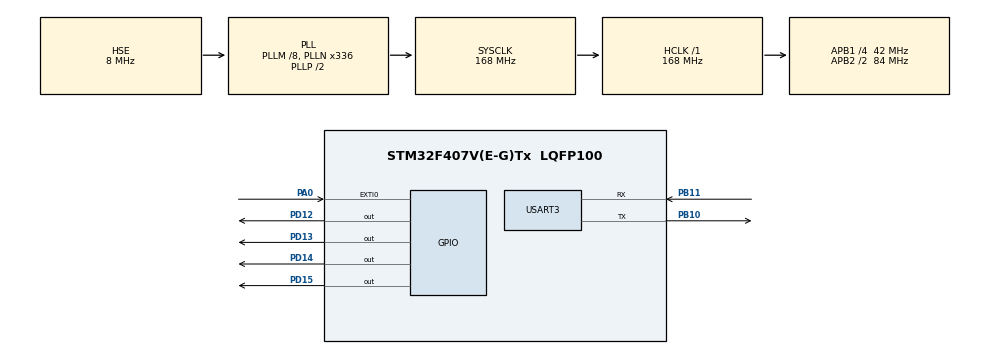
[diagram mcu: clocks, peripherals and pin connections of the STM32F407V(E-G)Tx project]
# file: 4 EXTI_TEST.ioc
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Mcu.Family=STM32F4
Mcu.Name=STM32F407V(E-G)Tx
Mcu.Package=LQFP100
NVIC.EXTI0_IRQn=true\:0\:0\:false\:true\:true\:3\:true
NVIC.PriorityGroup=NVIC_PRIORITYGROUP_4
NVIC.TIM7_IRQn=true\:0\:0\:false\:true\:true\:2\:true
NVIC.USART3_IRQn=true\:0\:0\:false\:true\:true\:1\:true
PA0-WKUP.GPIO_PuPd=GPIO_PULLDOWN
PA0-WKUP.Signal=GPXTI0
PB10.Mode=Asynchronous
PB10.Signal=USART3_TX
PB11.Mode=Asynchronous
PB11.Signal=USART3_RX
PD12.Signal=GPIO_Output
PD13.Signal=GPIO_Output
PD14.Signal=GPIO_Output
PD15.Signal=GPIO_Output
PH0-OSC_IN.Mode=HSE-External-Oscillator
PH0-OSC_IN.Signal=RCC_OSC_IN
PH1-OSC_OUT.Mode=HSE-External-Oscillator
PH1-OSC_OUT.Signal=RCC_OSC_OUT
ProjectManager.HeapSize=0x200
ProjectManager.StackSize=0x400
ProjectManager.TargetToolchain=TrueSTUDIO
RCC.48MHZClocksFreq_Value=84000000
RCC.AHBFreq_Value=168000000
RCC.APB1CLKDivider=RCC_HCLK_DIV4
RCC.APB1Freq_Value=42000000
RCC.APB1TimFreq_Value=84000000
RCC.APB2CLKDivider=RCC_HCLK_DIV2
RCC.APB2Freq_Value=84000000
RCC.APB2TimFreq_Value=168000000
RCC.CortexFreq_Value=168000000
RCC.HCLKFreq_Value=168000000
RCC.HSE_VALUE=8000000
RCC.HSI_VALUE=16000000
RCC.LSE_VALUE=32768
RCC.PLLM=8
RCC.PLLN=336
RCC.PLLSourceVirtual=RCC_PLLSOURCE_HSE
RCC.SYSCLKFreq_VALUE=168000000
RCC.SYSCLKSource=RCC_SYSCLKSOURCE_PLLCLK
RCC.VCOOutputFreq_Value=336000000
TIM7.Period=8400-1
TIM7.Prescaler=10000-1
USART3.VirtualMode=VM_ASYNC
VP_TIM7_VS_ClockSourceINT.Mode=Enable_Timer
board=custom

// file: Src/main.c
/**
  ******************************************************************************
  * @file           : main.c
  * @brief          : Main program body
  ******************************************************************************
  ** This notice applies to any and all portions of this file
  * that are not between comment pairs USER CODE BEGIN and
  * USER CODE END. Other portions of this file, whether
  * inserted by the user or by software development tools
  * are owned by their respective copyright owners.
  *
  * COPYRIGHT(c) 2019 STMicroelectronics
  *
  * Redistribution and use in source and binary forms, with or without modification,
  * are permitted provided that the following conditions are met:
  *   1. Redistributions of source code must retain the above copyright notice,
  *      this list of conditions and the following disclaimer.
  *   2. Redistributions in binary form must reproduce the above copyright notice,
  *      this list of conditions and the following disclaimer in the documentation
  *      and/or other materials provided with the distribution.
  *   3. Neither the name of STMicroelectronics nor the names of its contributors
  *      may be used to endorse or promote products derived from this software
  *      without specific prior written permission.
  *
  * THIS SOFTWARE IS PROVIDED BY THE COPYRIGHT HOLDERS AND CONTRIBUTORS "AS IS"
  * AND ANY EXPRESS OR IMPLIED WARRANTIES, INCLUDING, BUT NOT LIMITED TO, THE
  * IMPLIED WARRANTIES OF MERCHANTABILITY AND FITNESS FOR A PARTICULAR PURPOSE ARE
  * DISCLAIMED. IN NO EVENT SHALL THE COPYRIGHT HOLDER OR CONTRIBUTORS BE LIABLE
  * FOR ANY DIRECT, INDIRECT, INCIDENTAL, SPECIAL, EXEMPLARY, OR CONSEQUENTIAL
  * DAMAGES (INCLUDING, BUT NOT LIMITED TO, PROCUREMENT OF SUBSTITUTE GOODS OR
  * SERVICES; LOSS OF USE, DATA, OR PROFITS; OR BUSINESS INTERRUPTION) HOWEVER
  * CAUSED AND ON ANY THEORY OF LIABILITY, WHETHER IN CONTRACT, STRICT LIABILITY,
  * OR TORT (INCLUDING NEGLIGENCE OR OTHERWISE) ARISING IN ANY WAY OUT OF THE USE
  * OF THIS SOFTWARE, EVEN IF ADVISED OF THE POSSIBILITY OF SUCH DAMAGE.
  *
  ******************************************************************************
  */
#include "main.h"
#include "stm32f4xx_hal.h"
#include "tim.h"
#include "usart.h"
#include "gpio.h"

/* USER CODE BEGIN Includes */
#include <stdio.h>
/* USER CODE END Includes */

/* USER CODE BEGIN PV */
/* Private variables ---------------------------------------------------------*/
uint8_t rx3_data;

/* USER CODE END PV */

void SystemClock_Config(void);
static void MX_NVIC_Init(void);

/* USER CODE BEGIN PFP */
/* Private function prototypes -----------------------------------------------*/
int _write(int file, char* p, int len)
{
  HAL_UART_Transmit(&huart3, p, len, 10);
  return len;
}

/* USER CODE END PFP */

int main(void)
{

  /* MCU Configuration----------------------------------------------------------*/

  /* Reset of all peripherals, Initializes the Flash interface and the Systick. */
  HAL_Init();

  /* Configure the system clock */
  SystemClock_Config();

  /* Initialize all configured peripherals */
  MX_GPIO_Init();
  MX_USART3_UART_Init();
  MX_TIM7_Init();

  /* Initialize interrupts */
  MX_NVIC_Init();
  /* USER CODE BEGIN 2 */
  HAL_GPIO_WritePin(GPIOD, GPIO_PIN_12, RESET);
  HAL_GPIO_WritePin(GPIOD, GPIO_PIN_13, RESET);
  HAL_GPIO_WritePin(GPIOD, GPIO_PIN_14, RESET);
  HAL_GPIO_WritePin(GPIOD, GPIO_PIN_15, RESET);

  HAL_UART_Receive_IT(&huart3, &rx3_data, 1);

  HAL_TIM_Base_Start_IT(&htim7);
  /* USER CODE END 2 */

  /* Infinite loop */
  /* USER CODE BEGIN WHILE */
  uint8_t a = 0;
  float f = 1.234;
  while (1)
  {

  /* USER CODE END WHILE */

  }

}

void SystemClock_Config(void)
{

  RCC_OscInitTypeDef RCC_OscInitStruct;
  RCC_ClkInitTypeDef RCC_ClkInitStruct;

    /**Configure the main internal regulator output voltage
    */
  __HAL_RCC_PWR_CLK_ENABLE();

  __HAL_PWR_VOLTAGESCALING_CONFIG(PWR_REGULATOR_VOLTAGE_SCALE1);

    /**Initializes the CPU, AHB and APB busses clocks
    */
  RCC_OscInitStruct.OscillatorType = RCC_OSCILLATORTYPE_HSE;
  RCC_OscInitStruct.HSEState = RCC_HSE_ON;
  RCC_OscInitStruct.PLL.PLLState = RCC_PLL_ON;
  RCC_OscInitStruct.PLL.PLLSource = RCC_PLLSOURCE_HSE;
  RCC_OscInitStruct.PLL.PLLM = 8;
  RCC_OscInitStruct.PLL.PLLN = 336;
  RCC_OscInitStruct.PLL.PLLP = RCC_PLLP_DIV2;
  RCC_OscInitStruct.PLL.PLLQ = 4;
  if (HAL_RCC_OscConfig(&RCC_OscInitStruct) != HAL_OK)
  {
    _Error_Handler(__FILE__, __LINE__);
  }

    /**Initializes the CPU, AHB and APB busses clocks
    */
  RCC_ClkInitStruct.ClockType = RCC_CLOCKTYPE_HCLK|RCC_CLOCKTYPE_SYSCLK
                              |RCC_CLOCKTYPE_PCLK1|RCC_CLOCKTYPE_PCLK2;
  RCC_ClkInitStruct.SYSCLKSource = RCC_SYSCLKSOURCE_PLLCLK;
  RCC_ClkInitStruct.AHBCLKDivider = RCC_SYSCLK_DIV1;
  RCC_ClkInitStruct.APB1CLKDivider = RCC_HCLK_DIV4;
  RCC_ClkInitStruct.APB2CLKDivider = RCC_HCLK_DIV2;

  if (HAL_RCC_ClockConfig(&RCC_ClkInitStruct, FLASH_LATENCY_5) != HAL_OK)
  {
    _Error_Handler(__FILE__, __LINE__);
  }

    /**Configure the Systick interrupt time
    */
  HAL_SYSTICK_Config(HAL_RCC_GetHCLKFreq()/1000);

    /**Configure the Systick
    */
  HAL_SYSTICK_CLKSourceConfig(SYSTICK_CLKSOURCE_HCLK);

  /* SysTick_IRQn interrupt configuration */
  HAL_NVIC_SetPriority(SysTick_IRQn, 0, 0);
}

/**
  * @brief NVIC Configuration.
  * @retval None
  */
static void MX_NVIC_Init(void)
{
  /* USART3_IRQn interrupt configuration */
  HAL_NVIC_SetPriority(USART3_IRQn, 0, 0);
  HAL_NVIC_EnableIRQ(USART3_IRQn);
  /* TIM7_IRQn interrupt configuration */
  HAL_NVIC_SetPriority(TIM7_IRQn, 0, 0);
  HAL_NVIC_EnableIRQ(TIM7_IRQn);
  /* EXTI0_IRQn interrupt configuration */
  HAL_NVIC_SetPriority(EXTI0_IRQn, 0, 0);
  HAL_NVIC_EnableIRQ(EXTI0_IRQn);
}

/* USER CODE BEGIN 4 */
void HAL_UART_RxCpltCallback(UART_HandleTypeDef *huart)
{
  if(huart->Instance == USART3)
  {
    HAL_UART_Receive_IT(&huart3, &rx3_data, 1);
    HAL_UART_Transmit(&huart3, &rx3_data, 1, 10);
  }
}

void HAL_TIM_PeriodElapsedCallback(TIM_HandleTypeDef *htim)
{
  if(htim->Instance == TIM7)
  {
    HAL_GPIO_TogglePin(GPIOD, GPIO_PIN_12);
  }
}

void HAL_GPIO_EXTI_Callback(uint16_t GPIO_Pin)
{
  if(GPIO_Pin == GPIO_PIN_0)
  {
    HAL_GPIO_TogglePin(GPIOD, GPIO_PIN_13);
  }
}
/* USER CODE END 4 */

void _Error_Handler(char *file, int line)
{
  while(1)
  {
  }
}

/************************ (C) COPYRIGHT STMicroelectronics *****END OF FILE****/
